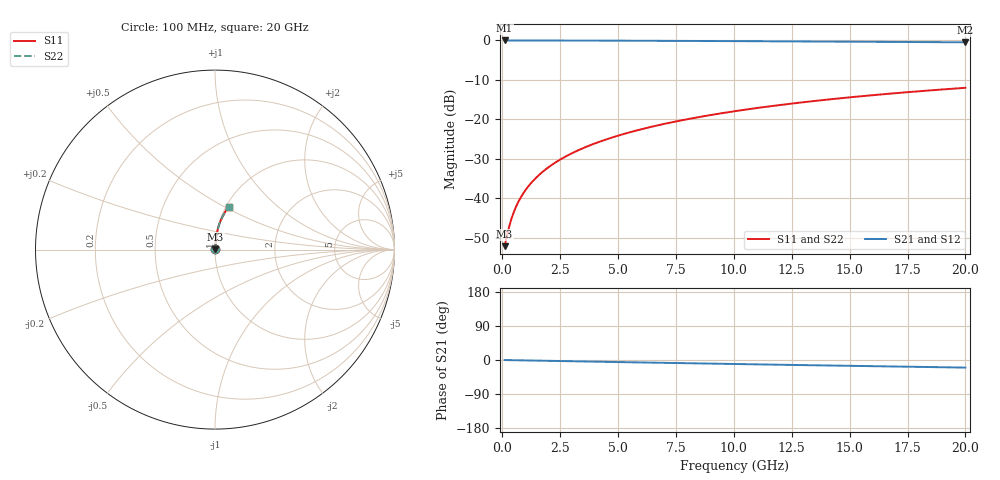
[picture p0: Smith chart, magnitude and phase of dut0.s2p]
! Touchstone file exported from HFSS 2024.1.0
!  File:  C:/UserFiles/LocalFiles/RDL_TSV_Batchsim/temp_RDL_top_0_1778679436.aedt
!  Generated:  09:40:13 PM May 13, 2026
!  Design:  RDL_top
!  Project:  temp_RDL_top_0_1778679436
!  Setup:  Setup1
!  Solution:  Sweep
! Variables:
!  dtsv = 10.80580581um
!  hbump = 3um
!  htsv = 75.89um
!  ldown = 100um
!  lrdl = 219.56um
!  p = 40
!  p1 = 49.14um
!  rhole = 1um
!  t = 450um
!  tdown = 3.915915916um
!  trdl = 2.73um
!  wdown = 15.38538539um
!  wrdl = 15.11um
# GHz S MA R 50.000000
! Terminal data exported
! Port[1] = Box2_T1
! Port[2] = Box2_T2
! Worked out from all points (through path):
!   200 points, 100 MHz to 20 GHz, reference 50 ohm
!   highest |S21| = -0.02 dB at 100 MHz (marker M1); lowest = -0.5 dB at 20 GHz (marker M2)
!   group delay of S21, straight-line fit = 2.77 ps
!   lowest |S11| = -52.1 dB at 100 MHz (marker M3), VSWR 1.00, Z = 50.2 + j0.13 ohm
!   |S11| at or under -10 dB: start of sweep to end of sweep
!   |S22| runs from -52.1 to -12.0 dB; largest |S21 - S12| = 2.1e-15
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0.1  0.002478 31.4  0.9979 -0.1  0.9979 -0.1  0.002478 31.4
! Gamma 0 0 0 0
! Port Impedance 50 0 50 0
0.2  0.00335 50.1  0.9978 -0.2  0.9978 -0.2  0.00335 50.1
0.3  0.004419 60.2  0.9978 -0.3  0.9978 -0.3  0.004419 60.2
0.4  0.005561 66.2  0.9977 -0.5  0.9977 -0.5  0.005561 66.2
0.5  0.00673 70.0  0.9977 -0.6  0.9977 -0.6  0.00673 70.0
0.6  0.007911 72.7  0.9976 -0.7  0.9976 -0.7  0.007911 72.7
0.8  0.01029 76.3  0.9975 -0.9  0.9975 -0.9  0.01029 76.3
1.1  0.01389 79.4  0.9973 -1.2  0.9973 -1.2  0.01389 79.4
1.5  0.01872 81.6  0.9969 -1.7  0.9969 -1.7  0.01872 81.6
1.8  0.02237 82.7  0.9967 -2.0  0.9967 -2.0  0.02237 82.7
2.1  0.02604 83.4  0.9964 -2.3  0.9964 -2.3  0.02604 83.4
2.7  0.03342 84.2  0.9957 -3.0  0.9957 -3.0  0.03342 84.2
3.5  0.04333 84.7  0.9945 -3.8  0.9945 -3.8  0.04333 84.7
4.2  0.05208 84.8  0.9934 -4.6  0.9934 -4.6  0.05208 84.8
5  0.06216 84.7  0.9918 -5.4  0.9918 -5.4  0.06216 84.7
5.9  0.07359 84.4  0.9898 -6.4  0.9898 -6.4  0.07359 84.4
6.8  0.0851 83.9  0.9877 -7.3  0.9877 -7.3  0.0851 83.9
8.3  0.1044 82.9  0.9838 -8.9  0.9838 -8.9  0.1044 82.9
10.1  0.1276 81.5  0.9786 -10.7  0.9786 -10.7  0.1276 81.5
13.4  0.1699 78.5  0.9683 -13.9  0.9683 -13.9  0.1699 78.5
16.7  0.2111 75.4  0.9571 -17.0  0.9571 -17.0  0.2111 75.4
20  0.2509 72.2  0.9451 -20.1  0.9451 -20.1  0.2509 72.2
